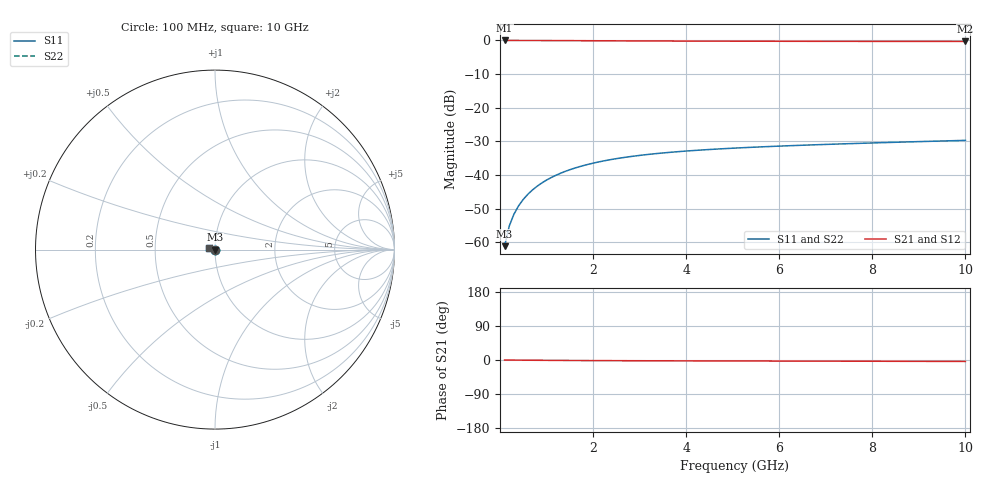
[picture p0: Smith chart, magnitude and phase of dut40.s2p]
! Touchstone file exported from HFSS 2024.1.0
!  File:  C:/UserFiles/LocalFiles/RDL_TSV_Batchsim/temp_TSV1_40_1778748151.aedt
!  Generated:  04:47:10 PM May 14, 2026
!  Design:  TSV1
!  Project:  temp_TSV1_40_1778748151
!  Setup:  Setup1
!  Solution:  Sweep
! Variables:
!  dtsv = 11.26um
!  hbump = 3um
!  htsv = 54um
!  lrdl = 252.1521522um
!  p = 40
!  p1 = 59.92um
!  t = 500um
!  trdl = 3um
!  wrdl = 24.89489489um
# GHz S MA R 50.000000
! Terminal data exported
! Port[1] = TSV22_T1
! Port[2] = TSV22_T2
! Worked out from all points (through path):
!   100 points, 100 MHz to 10 GHz, reference 50 ohm
!   highest |S21| = 0.00 dB at 100 MHz (marker M1); lowest = -0.3 dB at 10 GHz (marker M2)
!   lowest |S11| = -61.2 dB at 100 MHz (marker M3), VSWR 1.00, Z = 50 - j0.0872 ohm
!   |S11| at or under -10 dB: start of sweep to end of sweep
!   |S22| runs from -61.2 to -29.7 dB; largest |S21 - S12| = 5.2e-15
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0.1  0.0008732 -86.3  0.9999 -0.1  0.9999 -0.1  0.0008732 -86.3
! Gamma 0 0 0 0
! Port Impedance 50 0 50 0
0.2  0.00174 -91.2  0.9998 -0.2  0.9998 -0.2  0.00174 -91.2
0.3  0.002607 -94.3  0.9996 -0.3  0.9996 -0.3  0.002607 -94.3
0.4  0.00347 -97.0  0.9993 -0.4  0.9993 -0.4  0.00347 -97.0
0.5  0.004324 -99.4  0.999 -0.5  0.999 -0.5  0.004324 -99.4
0.6  0.005167 -101.8  0.9987 -0.6  0.9987 -0.6  0.005167 -101.8
0.7  0.005996 -104.0  0.9983 -0.6  0.9983 -0.6  0.005996 -104.0
0.8  0.00681 -106.3  0.9978 -0.7  0.9978 -0.7  0.00681 -106.3
0.9  0.007606 -108.4  0.9973 -0.8  0.9973 -0.8  0.007606 -108.4
1.1  0.00914 -112.6  0.9962 -1.0  0.9962 -1.0  0.00914 -112.6
1.4  0.01128 -118.6  0.9943 -1.2  0.9943 -1.2  0.01128 -118.6
1.6  0.0126 -122.4  0.9929 -1.3  0.9929 -1.3  0.0126 -122.4
1.8  0.01383 -126.0  0.9915 -1.4  0.9915 -1.4  0.01383 -126.0
2.1  0.01551 -131.1  0.9895 -1.6  0.9895 -1.6  0.01551 -131.1
2.5  0.01747 -137.3  0.9868 -1.8  0.9868 -1.8  0.01747 -137.3
2.9  0.01915 -143.0  0.9843 -1.9  0.9843 -1.9  0.01915 -143.0
3.4  0.02092 -149.4  0.9816 -2.1  0.9816 -2.1  0.02092 -149.4
4.2  0.02319 -158.2  0.9779 -2.3  0.9779 -2.3  0.02319 -158.2
5.1  0.02519 -166.6  0.9748 -2.6  0.9748 -2.6  0.02519 -166.6
6.7  0.02798 -178.7  0.971 -3.0  0.971 -3.0  0.02798 -178.7
8.4  0.03048 171.0  0.9684 -3.4  0.9684 -3.4  0.03048 171.0
10  0.03269 163.0  0.9668 -3.8  0.9668 -3.8  0.03269 163.0
